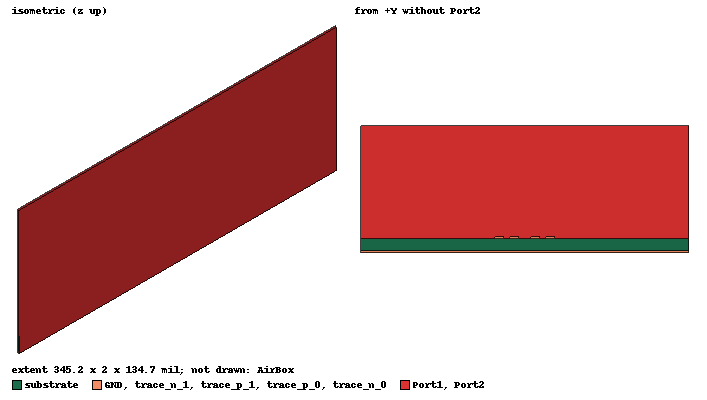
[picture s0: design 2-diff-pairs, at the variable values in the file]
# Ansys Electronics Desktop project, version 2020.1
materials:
  vacuum: permittivity=1
  copper: permeability=0.999991 conductivity=58000000
  FR4_epoxy: permittivity=4.4 dielectric_loss_tangent=0.02
  air: permittivity=1.0006 permeability=1.0000004

design 2-diff-pairs (HFSS, DrivenTerminal, model units mil)
options: Calculate_Lossy_Dielectrics
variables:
  H = 13mil  # substrate height
  W = 9.7mil  # trace width
  S = 6.3mil  # trace seperation
  T = 2.35mil  # trace thickness
  LL = 2mil  # length of line
  ss_coef = 2  # ratio of SS/S
  SS = S*ss_coef  # differential pair's seperation
  num_of_pairs = 2  # total number of diff-pairs
  sub_res = 2*num_of_pairs*(2*W+S+SS)-SS
  sub_width = 2*sub_res+num_of_pairs*(2*W+S+SS)-SS
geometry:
  trace_p_0 [copper] = box(corner=(0mil, 0mil, H), size=(W, LL, T))
  trace_n_0 [copper] = trace_p_0.duplicate_along_line(step=(W+S, 0mil, 0mil), total=2)
  trace_n_1 [copper] = trace_n_0.duplicate_along_line(step=(2*W+S+SS, 0mil, 0mil), total=num_of_pairs)
  trace_p_1 [copper] = trace_p_0.duplicate_along_line(step=(2*W+S+SS, 0mil, 0mil), total=num_of_pairs)
  substrate [FR4_epoxy] = box(corner=(-sub_res, 0mil, 0mil), size=(sub_width, LL, H))
  GND [copper] = box(corner=(-sub_res, 0mil, 0mil), size=(sub_width, LL, -T))
  AirBox [air] = box(corner=(-sub_res, 0mil, -T), size=(sub_width, LL, T+10*H+T))
  Port1 = rectangle(corner=(-sub_res, 0mil, -T), z_size=T+10*H+T, x_size=sub_width)
  Port2 = Port1.duplicate_along_line(step=(0mil, LL, 0mil), total=2)
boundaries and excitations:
  Rad1: Radiation Objects=AirBox
  trace_p_0_T1: Terminal port=1 Faces=trace_p_0.face(-y) TerminalResistance=50ohm
  trace_n_0_T1: Terminal port=1 Faces=trace_n_0.face(3 of 6) TerminalResistance=50ohm
  trace_n_1_T1: Terminal port=1 Faces=trace_n_1.face(3 of 6) TerminalResistance=50ohm
  trace_p_1_T1: Terminal port=1 Faces=trace_p_1.face(3 of 6) TerminalResistance=50ohm
  trace_p_0_T2: Terminal port=2 Faces=trace_p_0.face(+y) TerminalResistance=50ohm
  trace_n_0_T2: Terminal port=2 Faces=trace_n_0.face(5 of 6) TerminalResistance=50ohm
  trace_n_1_T2: Terminal port=2 Faces=trace_n_1.face(5 of 6) TerminalResistance=50ohm
  trace_p_1_T2: Terminal port=2 Faces=trace_p_1.face(5 of 6) TerminalResistance=50ohm
  1: Wave Port Faces=Port1.face(at (32, 0, 65)) NumModes=1 DeembedDist=-98mil
  2: Wave Port Faces=Port2.face NumModes=1
  reference conductors: GND
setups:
  Setup1: HfssDriven AdaptMultipleFreqs MultipleAdaptiveFreqsSetup{5GHz(0.001) 50GHz(0.001) 100GHz(0.001) 150GHz(0.001) 200GHz(0.001) 250GHz(0.001) 300GHz(0.001)} MaximumPasses=25 MinimumPasses=2 MinimumConvergedPasses=2 PercentRefinement=30 BasisOrder=-1 PortAccuracy=0.1
    sweep Sweep: 0.1GHz to 300GHz step 0.5GHz; Type=Interpolating InterpTolerance=0.1 InterpMaxSolns=10000 PassivityErrorTolerance=0.0001
  Setup_port: HfssDriven Frequency=70GHz MaxDeltaS=0.02 PortsOnly MaximumPasses=6 MinimumPasses=1 MinimumConvergedPasses=1 PercentRefinement=30 BasisOrder=1 PortAccuracy=0.1 VariableFlagsForDerivatives(1, 1, 1, 1)
    sweep Sweep: 0GHz to 70GHz step 0.1GHz; Type=Interpolating InterpTolerance=0.1 InterpMaxSolns=10000 MinSolvedFreq=0.01GHz InterpUseS=false
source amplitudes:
  1:1: 1V 0deg
  1:2, 1:3, 1:4, 2:1..2:4: 0 0deg
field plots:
  Vector_E1: E Field over Port1.face(at (32, 0, 65)) on Setup1 : LastAdaptive at Freq=5GHz Phase=0deg
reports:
  Terminal S Parameter Plot 1: dB(St(trace_p_0_T1,trace_p_0_T1)) vs Freq on Setup1 : Sweep
